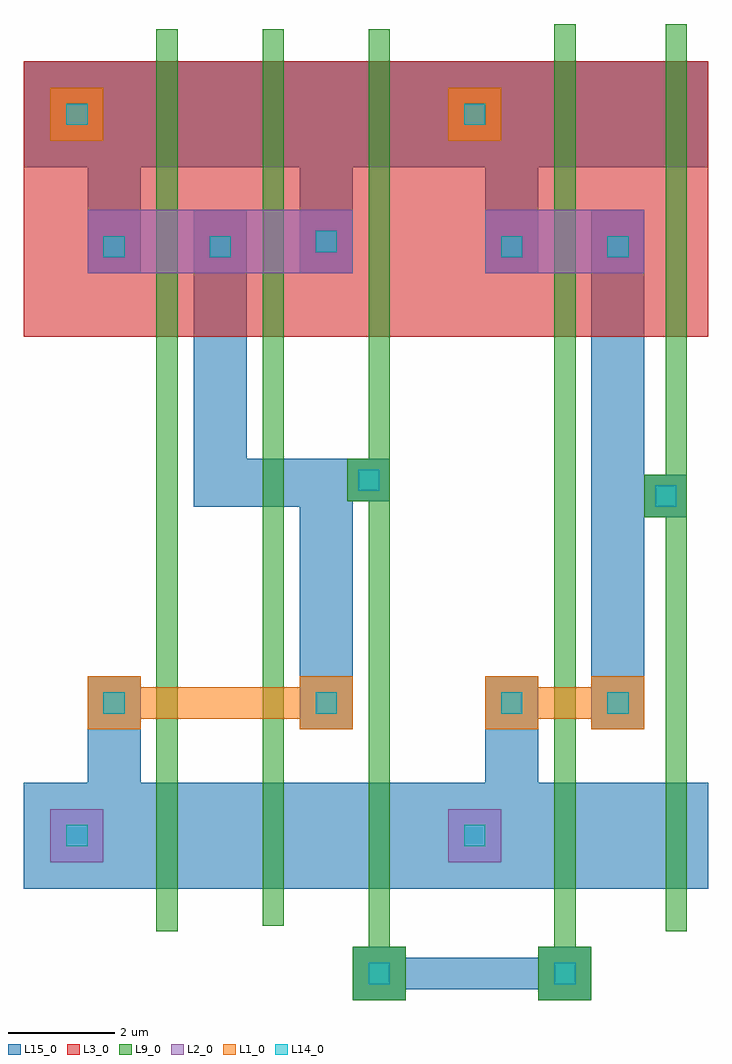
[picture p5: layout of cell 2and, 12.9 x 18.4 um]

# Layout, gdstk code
import gdstk
lib = gdstk.Library(unit=1e-6, precision=1e-09)
def R(c, l, rs):  # rectangles x0, y0, x1, y1
    for r in rs: c.add(gdstk.rectangle(r[:2], r[2:], *l))
def P(c, l, *ps):  # polygons
    for p in ps: c.add(gdstk.Polygon(p, *l))
L1_0 = (1, 0)
L2_0 = (2, 0)
L3_0 = (3, 0)
L9_0 = (9, 0)
L14_0 = (14, 0)
L15_0 = (15, 0)

c_2and = lib.new_cell('2and')
R(c_2and, L1_0, [(-7.1,6.7,-6.1,7.7), (0.4,6.7,1.4,7.7)])
P(c_2and, L1_0, [(-6.4,-3.4),(-6.4,-4.4),(-5.4,-4.4),(-5.4,-4.2),(-2.4,-4.2),(-2.4,-4.4),(-1.4,-4.4),(-1.4,-3.4),(-2.4,-3.4),(-2.4,-3.6),(-5.4,-3.6),(-5.4,-3.4)],
  [(1.1,-3.4),(1.1,-4.4),(2.1,-4.4),(2.1,-4.2),(3.1,-4.2),(3.1,-4.4),(4.1,-4.4),(4.1,-3.4),(3.1,-3.4),(3.1,-3.6),(2.1,-3.6),(2.1,-3.4)])
R(c_2and, L2_0, [(-7.1,-6.9,-6.1,-5.9), (0.4,-6.9,1.4,-5.9), (-6.4,4.2,-1.4,5.4), (1.1,4.2,4.1,5.4)])
R(c_2and, L3_0, [(-7.6,3,-0.1,8.2), (-0.1,3,5.3,8.2)])
R(c_2and, L9_0, [(-5.1,-8.2,-4.7,8.8), (-3.1,-8.1,-2.7,8.8)])
P(c_2and, L9_0, [(4.5,-0.4),(4.5,-8.2),(4.9,-8.2),(4.9,8.9),(4.5,8.9),(4.5,0.4),(4.1,0.4),(4.1,-0.4)],
  [(3.1,-9.5),(3.1,-8.5),(2.8,-8.5),(2.8,8.9),(2.4,8.9),(2.4,-8.5),(2.1,-8.5),(2.1,-9.5)],
  [(-0.4,-9.5),(-0.4,-8.5),(-0.7,-8.5),(-0.7,8.8),(-1.1,8.8),(-1.1,0.7),(-1.5,0.7),(-1.5,-0.1),(-1.1,-0.1),(-1.1,-8.5),(-1.4,-8.5),(-1.4,-9.5)])
R(c_2and, L14_0, [(-1.1,-9.2,-0.7,-8.8), (2.4,-9.2,2.8,-8.8), (-6.8,-6.6,-6.4,-6.2), (0.7,-6.6,1.1,-6.2), (-6.1,-4.1,-5.7,-3.7), (-2.1,-4.1,-1.7,-3.7), (1.4,-4.1,1.8,-3.7), (3.4,-4.1,3.8,-3.7), (4.3,-0.2,4.7,0.2), (-1.3,0.1,-0.9,0.5), (-6.1,4.5,-5.7,4.9), (-4.1,4.5,-3.7,4.9), (1.4,4.5,1.8,4.9), (3.4,4.5,3.8,4.9), (-2.1,4.6,-1.7,5), (-6.8,7,-6.4,7.4), (0.7,7,1.1,7.4)])
R(c_2and, L15_0, [(-1.4,-9.5,-0.4,-8.5), (2.1,-9.5,3.1,-8.5), (-0.4,-9.3,2.1,-8.7)])
P(c_2and, L15_0, [(-5.4,-5.4),(-5.4,-3.4),(-6.4,-3.4),(-6.4,-5.4),(-7.6,-5.4),(-7.6,-7.4),(-0.1,-7.4),(-0.1,-5.4)],
  [(-1.4,6.2),(-0.1,6.2),(-0.1,8.2),(-7.6,8.2),(-7.6,6.2),(-6.4,6.2),(-6.4,4.2),(-5.4,4.2),(-5.4,6.2),(-2.4,6.2),(-2.4,4.2),(-1.4,4.2)],
  [(-0.7,0.7),(-3.4,0.7),(-3.4,5.4),(-4.4,5.4),(-4.4,-0.2),(-2.4,-0.2),(-2.4,-4.4),(-1.4,-4.4),(-1.4,-0.1),(-0.7,-0.1)],
  [(2.1,6.2),(5.3,6.2),(5.3,8.2),(-0.1,8.2),(-0.1,6.2),(1.1,6.2),(1.1,4.2),(2.1,4.2)],
  [(2.1,-5.4),(2.1,-3.4),(1.1,-3.4),(1.1,-5.4),(-0.1,-5.4),(-0.1,-7.4),(5.3,-7.4),(5.3,-5.4)],
  [(4.1,0.4),(4.1,5.4),(3.1,5.4),(3.1,-4.4),(4.1,-4.4),(4.1,-0.4),(4.9,-0.4),(4.9,0.4)])

lib.write_gds('2and.gds')
